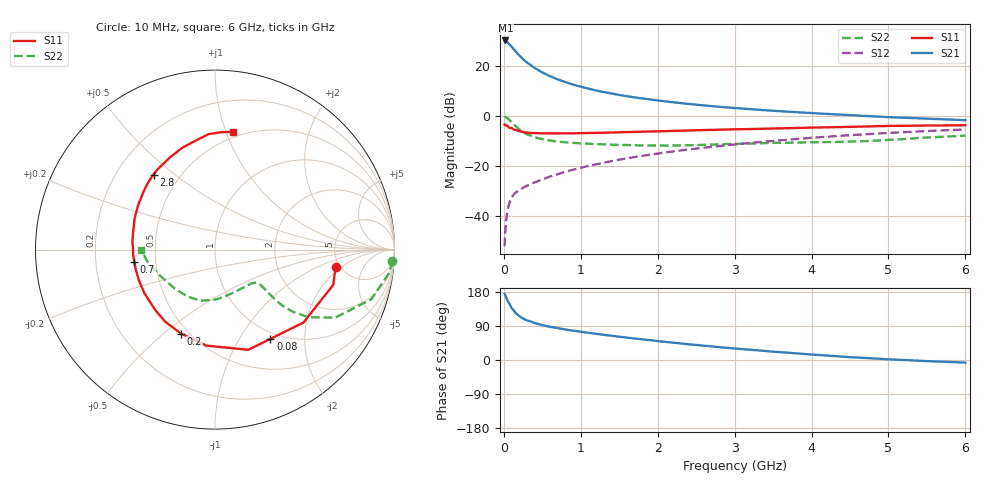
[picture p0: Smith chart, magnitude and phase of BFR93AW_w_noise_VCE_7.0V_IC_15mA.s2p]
! (c) 2017  Infineon Technologies AG, Munich
! Infineon Technologies  Discrete & RF Semiconductors
! BFR93AW
! VCE =  7.0 V,  IC =  15 mA
! Common Emitter S-Parameters:  Jan 2017
# GHz  S  MA  R  50
!  f  S11  S21  S12  S22
! GHz  MAG  ANG  MAG  ANG  MAG  ANG  MAG  ANG
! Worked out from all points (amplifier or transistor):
!   77 points, 10 MHz to 6 GHz, reference 50 ohm
!   highest |S21| = 30.4 dB at 20 MHz (marker M1)
!   |S21| within 3 dB of that: start of sweep to 115.3 MHz
!   unconditionally stable (mu >= 1): 784.4 MHz to 2.085 GHz
!   at 130 MHz: K = 0.37, MSG = 29.1 dB, |S12| = -31.3 dB
!   at 2.2 GHz: K = 0.99, MSG = 9.9 dB, |S12| = -14.1 dB
!   at 6 GHz: K = 0.86, MSG = 1.9 dB, |S12| = -5.3 dB
!   lowest NFmin = 1.37 dB at 450 MHz
!   S11 on the Smith chart (normalised r, x): 10 MHz: 4.60, -1.68; 80 MHz: 0.91, -1.37; 200 MHz: 0.46, -0.57; 700 MHz: 0.38, -0.06; 2.8 GHz: 0.36, +0.42; 6 GHz: 0.45, +1.06
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0.01  0.6795 -8.3  33.1 174.5  0.0025 87.6  0.9895 -3.7
0.02  0.6873 -16.6  33.27 169.7  0.0054 86.0  0.9796 -7.6
0.05  0.6388 -39.5  30.54 155.7  0.0136 73.2  0.9133 -17.7
0.08  0.5854 -58.2  26.95 145.5  0.0196 65.1  0.8228 -24.3
0.1  0.5883 -71.6  25.14 137.3  0.0238 62.0  0.7697 -29.5
0.15  0.5372 -95.0  20.31 124.6  0.0294 57.9  0.6423 -35.9
0.2  0.5051 -111.9  16.65 115.9  0.0333 56.2  0.5513 -38.7
0.25  0.488 -124.6  14.03 109.3  0.0371 54.4  0.4869 -39.7
0.3  0.4739 -134.4  12.01 104.6  0.0407 55.0  0.4397 -39.8
0.4  0.4625 -148.1  9.332 97.4  0.0473 58.2  0.3821 -39.0
0.5  0.4574 -158.0  7.583 92.1  0.0546 59.6  0.3487 -38.4
0.6  0.4552 -165.5  6.399 87.7  0.0622 61.6  0.3267 -37.9
0.7  0.4551 -171.5  5.521 84.1  0.0692 63.6  0.3123 -37.7
0.9  0.4569 178.7  4.337 77.4  0.0851 65.4  0.2945 -39.0
1.1  0.4637 171.0  3.598 71.8  0.1016 66.6  0.2834 -41.3
1.5  0.48 158.8  2.691 61.5  0.1353 66.6  0.2675 -48.6
2.1  0.5055 143.7  1.999 47.9  0.1888 64.4  0.2603 -65.0
2.8  0.5404 129.3  1.557 33.9  0.2545 59.8  0.2753 -86.5
3.1  0.5532 123.5  1.433 28.8  0.2832 57.2  0.2825 -95.0
4.1  0.5995 106.1  1.143 13.1  0.3814 47.6  0.3033 -123.7
5.1  0.6457 92.0  0.952 0.9  0.4738 36.3  0.3437 -157.2
6  0.6637 81.2  0.84 -6.9  0.5455 25.8  0.4119 -179.7
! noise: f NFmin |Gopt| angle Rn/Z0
0.45  1.37  0.12  133  0.13
0.9  1.66  0.23  164  0.14
1.9  2.67  0.47  -144  0.2
2.4  3.3  0.54  -129  0.4
